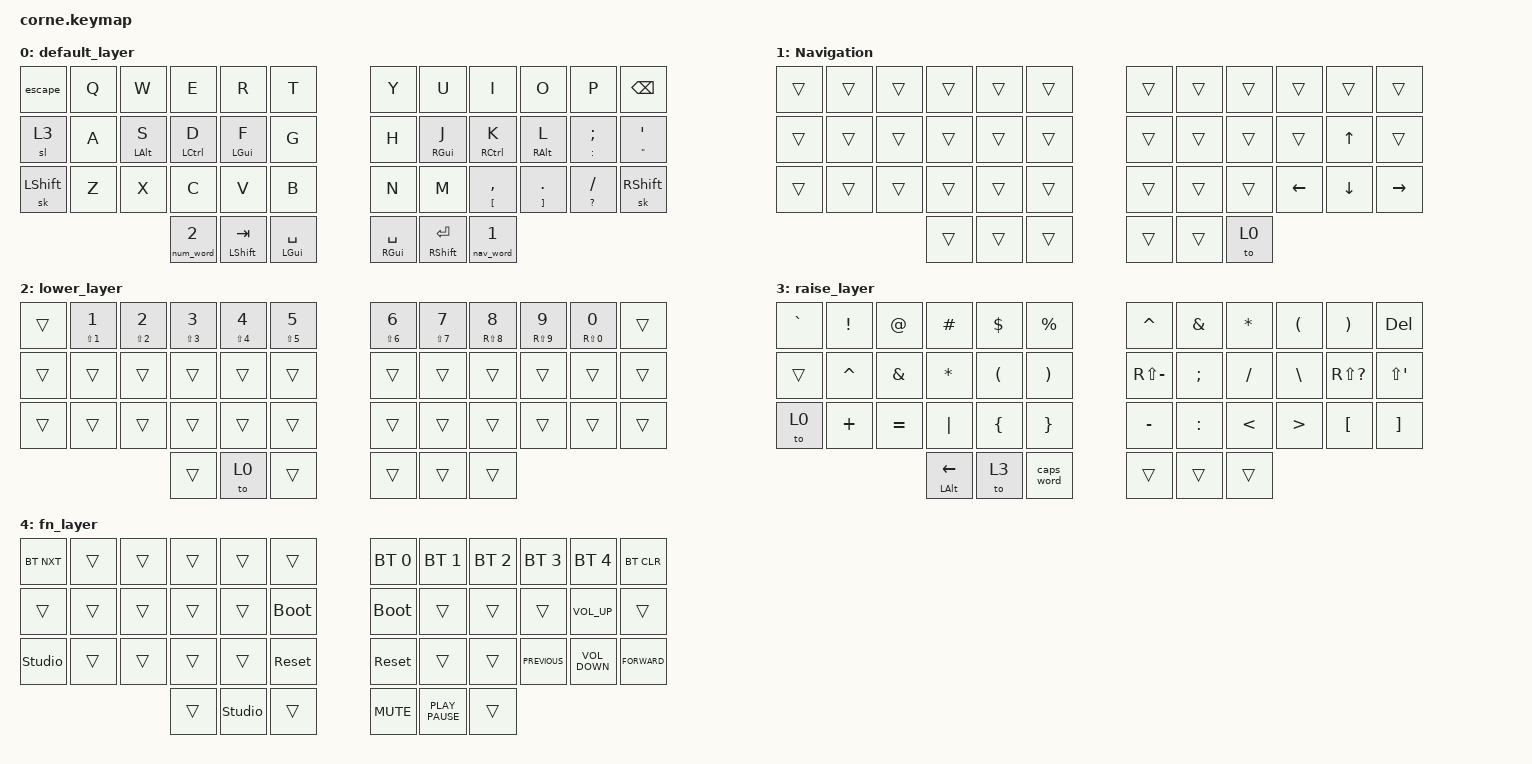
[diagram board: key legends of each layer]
/*
 * Copyright (c) 2020 The ZMK Contributors
 *
 * SPDX-License-Identifier: MIT
 */

#include <behaviors/num_word.dtsi>
#include <behaviors.dtsi>
#include <dt-bindings/zmk/bt.h>
#include <dt-bindings/zmk/keys.h>

/ {
    behaviors {
        layer_hold_tap: layer_hold_tap {
            compatible = "zmk,behavior-hold-tap";
            label = "Layer Hold and Tap";
            bindings = <&mo>, <&to>;

            #binding-cells = <2>;
            tapping-term-ms = <200>;
            flavor = "hold-preferred";
            hold-while-undecided-linger;
        };

        tap_layer_hold_kp: tap_layer_hold_kp {
            compatible = "zmk,behavior-hold-tap";
            label = "Tap Layer Hold Kp";
            bindings = <&kp>, <&to>;

            #binding-cells = <2>;
            quick-tap-ms = <0>;
            tapping-term-ms = <200>;
            flavor = "balanced";
        };

        idle_hold_tap_kp: idle_hold_tap_kp {
            compatible = "zmk,behavior-hold-tap";
            label = "Idle Hold Tap Key";
            bindings = <&kp>, <&kp>;

            #binding-cells = <2>;
            tapping-term-ms = <200>;
            require-prior-idle-ms = <300>;
            flavor = "tap-preferred";
        };

        idle_hold_layer_tap_kp: idle_hold_layer_tap_kp {
            compatible = "zmk,behavior-hold-tap";
            label = "Idle Hold Layer MO Tap Key Press";
            bindings = <&mo>, <&kp>;

            #binding-cells = <2>;
            tapping-term-ms = <200>;
            require-prior-idle-ms = <300>;
            flavor = "tap-preferred";
            retro-tap;
            quick-tap-ms = <100>;
        };

        tap_tap_copy_paste: tap_tap_copy_paste {
            compatible = "zmk,behavior-tap-dance";
            label = "Tap tap copy paste";
            #binding-cells = <0>;
            bindings = <&kp LG(C)>, <&kp LG(V)>;
        };

        tap_tap_shift_caps: tap_tap_shift_caps {
            compatible = "zmk,behavior-tap-dance";
            label = "Tap tap shift caps";
            #binding-cells = <0>;
            bindings = <&left_homerow LSHFT TAB>, <&caps_word>;
        };

        thumb_hold_kp: thumb_hold_kp {
            compatible = "zmk,behavior-hold-tap";
            label = "Thumb hold tap";
            bindings = <&sk>, <&kp>;

            #binding-cells = <2>;
            tapping-term-ms = <280>;
            flavor = "balanced";
            require-prior-idle-ms = <0>;
            quick-tap-ms = <200>;
        };

        left_homerow: left_homerow {
            compatible = "zmk,behavior-hold-tap";
            label = "Left Homerow";
            bindings = <&kp>, <&kp>;

            #binding-cells = <2>;
            tapping-term-ms = <280>;
            flavor = "balanced";
            require-prior-idle-ms = <200>;
            quick-tap-ms = <200>;
            hold-trigger-key-positions = <6 7 8 9 10 22 21 19 20 18 30 31 32 33 34 35 23 11>;
            hold-trigger-on-release;
        };

        right_homerow: right_homerow {
            compatible = "zmk,behavior-hold-tap";
            label = "Right homerow";
            bindings = <&sk>, <&kp>;

            #binding-cells = <2>;
            tapping-term-ms = <280>;
            flavor = "balanced";
            require-prior-idle-ms = <200>;
            quick-tap-ms = <200>;
            hold-trigger-key-positions = <0 1 2 3 4 5 12 13 14 15 16 17 29 28 27 26 25 24>;
            hold-trigger-on-release;
        };

        escape: escape {
            compatible = "zmk,behavior-tap-dance";
            label = "Escaper";
            #binding-cells = <0>;
            bindings = <&mt GRAVE ESCAPE>, <&kp LC(C)>;
        };

        thumb_layer: thumb_layer {
            compatible = "zmk,behavior-hold-tap";
            label = "Thumb layer";
            bindings = <&sl>, <&kp>;

            #binding-cells = <2>;
            tapping-term-ms = <280>;
            flavor = "balanced";
            require-prior-idle-ms = <200>;
            quick-tap-ms = <200>;
        };

        autoshift: autoshift {
            compatible = "zmk,behavior-hold-tap";
            label = "AUTOSHIFT";
            bindings = <&kp>, <&kp>;

            #binding-cells = <2>;
            tapping-term-ms = <180>;
            flavor = "tap-preferred";
        };

        nav_word: nav_word {
            compatible = "zmk,behavior-auto-layer";
            #binding-cells = <1>;
            continue-list = <LEFT DOWN UP RIGHT PG_DN PG_UP HOME END BACKSPACE>;
            ignore-modifiers;
        };
    };

    combos {
        compatible = "zmk,combos";

        funcl {
            bindings = <&mo 4>;
            key-positions = <38 37>;
        };

        thumb_caps {
            bindings = <&caps_word>;
            key-positions = <38 39>;
        };

        command_toggle {
            bindings = <&kt RIGHT_GUI>;
            key-positions = <37 40>;
        };

        right {
            bindings = <&kp RIGHT_ARROW>;
            key-positions = <34 35>;
        };

        left {
            bindings = <&kp LEFT>;
            key-positions = <24 25>;
        };

        delete {
            bindings = <&kp DELETE>;
            key-positions = <10 11>;
        };

        ctrlc {
            bindings = <&kp LC(C)>;
            key-positions = <0 1>;
        };

        up {
            bindings = <&kp UP_ARROW>;
            key-positions = <36 37>;
        };

        down {
            bindings = <&kp DOWN_ARROW>;
            key-positions = <40 41>;
        };

        fucnr {
            bindings = <&mo 4>;
            key-positions = <39 40>;
        };
    };

    keymap {
        compatible = "zmk,keymap";

        default_layer {
            // -----------------------------------------------------------------------------------------
            // |  TAB |  Q  |  W  |  E  |  R  |  T  |   |  Y  |  U   |  I  |  O  |  P  | BSPC |
            // | CTRL |  A  |  S  |  D  |  F  |  G  |   |  H  |  J   |  K  |  L  |  ;  |  '   |
            // | SHFT |  Z  |  X  |  C  |  V  |  B  |   |  N  |  M   |  ,  |  .  |  /  | ESC  |
            //                    | GUI | LWR | SPC |   | ENT | RSE  | ALT |

            bindings = <
&escape         &kp Q  &kp W                     &kp E                         &kp R                         &kp T                               &kp Y                              &kp U                              &kp I                           &kp O                                   &kp P                       &kp BACKSPACE
&sl 3           &kp A  &left_homerow LEFT_ALT S  &left_homerow LEFT_CONTROL D  &left_homerow LGUI F          &kp G                               &kp H                              &right_homerow RIGHT_GUI J         &right_homerow RIGHT_CONTROL K  &right_homerow RIGHT_ALT L              &autoshift COLON SEMICOLON  &autoshift DOUBLE_QUOTES APOSTROPHE
&sk LEFT_SHIFT  &kp Z  &kp X                     &kp C                         &kp V                         &kp B                               &kp N                              &kp M                              &autoshift LBKT COMMA           &idle_hold_tap_kp RIGHT_BRACKET PERIOD  &autoshift QUESTION SLASH   &sk RIGHT_SHIFT
                                                 &num_word 2                   &left_homerow LEFT_SHIFT TAB  &idle_hold_tap_kp LEFT_GUI SPACE    &idle_hold_tap_kp RIGHT_GUI SPACE  &right_homerow RIGHT_SHIFT RETURN  &nav_word 1
            >;
        };

        Navigation {
            bindings = <
&trans  &trans  &trans  &trans  &trans  &trans    &trans  &trans  &trans  &trans    &trans          &trans
&trans  &trans  &trans  &trans  &trans  &trans    &trans  &trans  &trans  &trans    &kp UP_ARROW    &trans
&trans  &trans  &trans  &trans  &trans  &trans    &trans  &trans  &trans  &kp LEFT  &kp DOWN_ARROW  &kp RIGHT
                        &trans  &trans  &trans    &trans  &trans  &to 0
            >;
        };

        lower_layer {
            // -----------------------------------------------------------------------------------------
            // |  TAB |  1  |  2  |  3  |  4  |  5  |   |  6  |  7  |  8  |  9  |  0  | BSPC |
            // | BTCLR| BT1 | BT2 | BT3 | BT4 | BT5 |   | LFT | DWN |  UP | RGT |     |      |
            // | SHFT |  b   |  r   |  u   |     |     |   |     |     |     |     |     |      |
            //                    | GUI |     | SPC |   | ENT |     | ALT |

            bindings = <
&trans  &autoshift LS(N1) N1  &autoshift LS(N2) N2  &autoshift LS(N3) N3  &autoshift LS(N4) N4  &autoshift LS(N5) N5    &autoshift LS(N6) N6  &autoshift LS(N7) N7  &autoshift RS(N8) N8  &autoshift RS(N9) N9  &autoshift RS(N0) N0  &trans
&trans  &trans                &trans                &trans                &trans                &trans                  &trans                &trans                &trans                &trans                &trans                &trans
&trans  &trans                &trans                &trans                &trans                &trans                  &trans                &trans                &trans                &trans                &trans                &trans
                                                    &trans                &to 0                 &trans                  &trans                &trans                &trans
            >;
        };

        raise_layer {
            // -----------------------------------------------------------------------------------------
            // |  TAB |  !  |  @  |  #  |  $  |  %  |   |  ^  |  &  |  *  |  (  |  )  | BSPC |
            // | CTRL |     |     |     |     |     |   |  -  |  =  |  [  |  ]  |  \  |  `   |
            // | SHFT |     |     |     |     |     |   |  _  |  +  |  {  |  }  | "|" |  ~   |
            //                    | GUI |     | SPC |   | ENT |     | ALT |

            bindings = <
&kp GRAVE  &kp EXCL   &kp AT     &kp HASH           &kp DLLR        &kp PRCNT          &kp CARET      &kp AMPS   &kp ASTRK      &kp LPAR          &kp RPAR          &kp DELETE
&trans     &kp CARET  &kp AMPS   &kp STAR           &kp LPAR        &kp RPAR           &kp RS(MINUS)  &kp SEMI   &kp SLASH      &kp BACKSLASH     &kp RS(QUESTION)  &kp LS(SQT)
&to 0      &kp PLUS   &kp EQUAL  &kp PIPE           &kp LEFT_BRACE  &kp RIGHT_BRACE    &kp MINUS      &kp COLON  &kp LESS_THAN  &kp GREATER_THAN  &kp LEFT_BRACKET  &kp RIGHT_BRACKET
                                 &mt LEFT_ALT LEFT  &to 3           &caps_word         &trans         &trans     &trans
            >;
        };

        fn_layer {
            bindings = <
&bt BT_NXT      &trans  &trans  &trans  &trans          &trans         &bt BT_SEL 0  &bt BT_SEL 1      &bt BT_SEL 2  &bt BT_SEL 3    &bt BT_SEL 4       &bt BT_CLR
&trans          &trans  &trans  &trans  &trans          &bootloader    &bootloader   &trans            &trans        &trans          &kp K_VOLUME_UP    &trans
&studio_unlock  &trans  &trans  &trans  &trans          &sys_reset     &sys_reset    &trans            &trans        &kp K_PREVIOUS  &kp K_VOLUME_DOWN  &kp K_FORWARD
                                &trans  &studio_unlock  &trans         &kp K_MUTE    &kp K_PLAY_PAUSE  &trans
            >;
        };
    };
};
